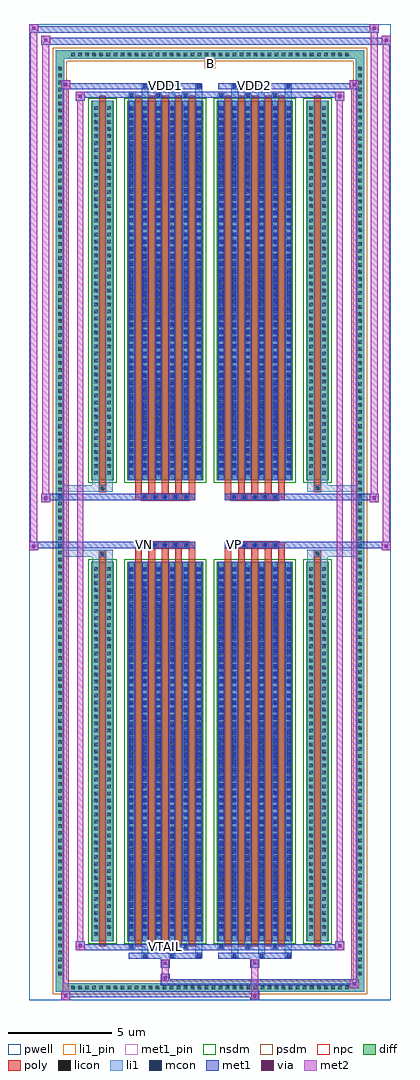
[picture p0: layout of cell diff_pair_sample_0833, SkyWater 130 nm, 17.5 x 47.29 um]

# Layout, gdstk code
import gdstk
lib = gdstk.Library(unit=1e-6, precision=5e-09)
def R(c, l, rs):  # rectangles x0, y0, x1, y1
    for r in rs: c.add(gdstk.rectangle(r[:2], r[2:], *l))
def A(c, l, x, y, w, h, nx, ny, dx, dy):  # array of equal rectangles
    R(c, l, [(x+i*dx, y+j*dy, x+i*dx+w, y+j*dy+h) for i in range(nx) for j in range(ny)])
def P(c, l, *ps):  # polygons
    for p in ps: c.add(gdstk.Polygon(p, *l))
pwell = (64, 44)
diff = (65, 20)
poly = (66, 20)
licon = (66, 44)
li1_pin = (67, 16)
li1 = (67, 20)
mcon = (67, 44)
met1_pin = (68, 16)
met1 = (68, 20)
via = (68, 44)
met2 = (69, 20)
nsdm = (93, 44)
psdm = (94, 20)
npc = (95, 20)

diff_pair_sample_0833 = lib.new_cell('diff_pair_sample_0833')
R(diff_pair_sample_0833, pwell, [(-8.75,-23.21,8.75,24.08), (-6.07,-21.4,-0.01,-0.8), (0.01,-21.4,6.07,-0.8), (-6.07,0.8,-0.01,21.4), (0.01,0.8,6.07,21.4)])
A(diff_pair_sample_0833, diff, -6.835, -22.81, 0.41, 0.41, 40, 2, 0.34, 45.21)
A(diff_pair_sample_0833, diff, -7.48, -22.135, 0.41, 0.41, 1, 130, 0, 0.34)
A(diff_pair_sample_0833, diff, 7.07, -22.135, 0.41, 0.41, 1, 130, 0, 0.34)
R(diff_pair_sample_0833, diff, [(-6.835,-22.81,6.835,-22.4), (-7.48,-22.135,-7.07,22.135), (7.07,-22.135,7.48,22.135), (-5.76,-20.355,-4.66,-1.985), (-4.02,-20.355,-0.32,-1.985), (0.32,-20.355,4.02,-1.985), (4.66,-20.355,5.76,-1.985), (-5.76,1.985,-4.66,20.355), (-4.02,1.985,-0.32,20.355), (0.32,1.985,4.02,20.355), (4.66,1.985,5.76,20.355), (-6.835,22.4,6.835,22.81)])
P(diff_pair_sample_0833, diff, [(7.48,22.81),(-7.48,22.81),(-7.48,-22.4),(-7.07,-22.4),(-7.07,22.4),(7.07,22.4),(7.07,-22.4),(-7.07,-22.4),(-7.48,-22.4),(-7.48,-22.81),(7.48,-22.81)])
A(diff_pair_sample_0833, poly, -3.63, -20.605, 0.32, 18.87, 5, 2, 0.65, 22.34)
A(diff_pair_sample_0833, poly, 0.71, -20.605, 0.32, 18.87, 5, 2, 0.65, 22.34)
A(diff_pair_sample_0833, poly, -3.63, -1.735, 0.32, 0.405, 5, 2, 0.65, 3.065)
A(diff_pair_sample_0833, poly, 0.71, -1.735, 0.32, 0.405, 5, 2, 0.65, 3.065)
A(diff_pair_sample_0833, poly, -3.335, -1.33, 0.33, 0.33, 5, 2, 0.5, 2.33)
A(diff_pair_sample_0833, poly, 1.005, -1.33, 0.33, 0.33, 5, 2, 0.5, 2.33)
R(diff_pair_sample_0833, poly, [(-5.37,-20.605,-5.05,-1.735), (5.05,-20.605,5.37,-1.735), (-5.375,-1.735,-5.045,-1.405), (-5.375,-1.735,-5.045,-1.405), (5.045,-1.735,5.375,-1.405), (5.045,-1.735,5.375,-1.405), (-3.63,-1.33,-0.71,-1), (0.71,-1.33,3.63,-1), (-3.63,1,-0.71,1.33), (0.71,1,3.63,1.33), (-5.375,1.405,-5.045,1.735), (-5.375,1.405,-5.045,1.735), (5.045,1.405,5.375,1.735), (5.045,1.405,5.375,1.735), (-5.37,1.735,-5.05,20.605), (5.05,1.735,5.37,20.605)])
A(diff_pair_sample_0833, licon, -6.715, -22.69, 0.17, 0.17, 40, 2, 0.34, 45.21)
A(diff_pair_sample_0833, licon, -7.36, -22.015, 0.17, 0.17, 1, 130, 0, 0.34)
A(diff_pair_sample_0833, licon, 7.19, -22.015, 0.17, 0.17, 1, 130, 0, 0.34)
A(diff_pair_sample_0833, licon, -5.62, -20.095, 0.17, 0.17, 1, 53, 0, 0.34)
A(diff_pair_sample_0833, licon, -4.97, -20.095, 0.17, 0.17, 1, 53, 0, 0.34)
A(diff_pair_sample_0833, licon, -3.88, -20.095, 0.17, 0.17, 6, 53, 0.65, 0.34)
A(diff_pair_sample_0833, licon, 0.46, -20.095, 0.17, 0.17, 6, 53, 0.65, 0.34)
A(diff_pair_sample_0833, licon, 4.8, -20.095, 0.17, 0.17, 1, 53, 0, 0.34)
A(diff_pair_sample_0833, licon, 5.45, -20.095, 0.17, 0.17, 1, 53, 0, 0.34)
A(diff_pair_sample_0833, licon, -3.255, -1.25, 0.17, 0.17, 5, 2, 0.5, 2.33)
A(diff_pair_sample_0833, licon, 1.085, -1.25, 0.17, 0.17, 5, 2, 0.5, 2.33)
A(diff_pair_sample_0833, licon, -5.62, 2.245, 0.17, 0.17, 1, 53, 0, 0.34)
A(diff_pair_sample_0833, licon, -4.97, 2.245, 0.17, 0.17, 1, 53, 0, 0.34)
A(diff_pair_sample_0833, licon, -3.88, 2.245, 0.17, 0.17, 6, 53, 0.65, 0.34)
A(diff_pair_sample_0833, licon, 0.46, 2.245, 0.17, 0.17, 6, 53, 0.65, 0.34)
A(diff_pair_sample_0833, licon, 4.8, 2.245, 0.17, 0.17, 1, 53, 0, 0.34)
A(diff_pair_sample_0833, licon, 5.45, 2.245, 0.17, 0.17, 1, 53, 0, 0.34)
R(diff_pair_sample_0833, licon, [(-5.295,-1.655,-5.125,-1.485), (5.125,-1.655,5.295,-1.485), (-5.295,1.485,-5.125,1.655), (5.125,1.485,5.295,1.655)])
R(diff_pair_sample_0833, li1_pin, [(-0.25,21.9,0.25,22.4)])
A(diff_pair_sample_0833, li1, -6.795, -22.77, 0.33, 0.33, 40, 2, 0.34, 45.21)
A(diff_pair_sample_0833, li1, -7.44, -22.095, 0.33, 0.33, 1, 130, 0, 0.34)
A(diff_pair_sample_0833, li1, 7.11, -22.095, 0.33, 0.33, 1, 130, 0, 0.34)
A(diff_pair_sample_0833, li1, -3.31, -21.16, 0.33, 0.805, 3, 2, 1.3, 41.515)
A(diff_pair_sample_0833, li1, -3.23, -21.16, 0.17, 0.17, 3, 2, 1.3, 42.15)
A(diff_pair_sample_0833, li1, 1.03, -21.16, 0.33, 0.805, 3, 2, 1.3, 41.515)
A(diff_pair_sample_0833, li1, 1.11, -21.16, 0.17, 0.17, 3, 2, 1.3, 42.15)
A(diff_pair_sample_0833, li1, -3.96, -20.73, 0.33, 0.375, 3, 2, 1.3, 41.085)
A(diff_pair_sample_0833, li1, -3.88, -20.73, 0.17, 0.17, 3, 2, 1.3, 41.29)
A(diff_pair_sample_0833, li1, 0.38, -20.73, 0.33, 0.375, 3, 2, 1.3, 41.085)
A(diff_pair_sample_0833, li1, 0.46, -20.73, 0.17, 0.17, 3, 2, 1.3, 41.29)
A(diff_pair_sample_0833, li1, -3.96, -20.355, 0.33, 18.37, 6, 2, 0.65, 22.34)
A(diff_pair_sample_0833, li1, 0.38, -20.355, 0.33, 18.37, 6, 2, 0.65, 22.34)
A(diff_pair_sample_0833, li1, -5.7, -20.175, 0.33, 0.33, 1, 53, 0, 0.34)
A(diff_pair_sample_0833, li1, -5.05, -20.175, 0.33, 0.33, 1, 53, 0, 0.34)
A(diff_pair_sample_0833, li1, -3.96, -20.175, 0.33, 0.33, 6, 53, 0.65, 0.34)
A(diff_pair_sample_0833, li1, 0.38, -20.175, 0.33, 0.33, 6, 53, 0.65, 0.34)
A(diff_pair_sample_0833, li1, 4.72, -20.175, 0.33, 0.33, 1, 53, 0, 0.34)
A(diff_pair_sample_0833, li1, 5.37, -20.175, 0.33, 0.33, 1, 53, 0, 0.34)
A(diff_pair_sample_0833, li1, -3.88, -20.075, 0.17, 0.17, 6, 50, 0.65, 0.36)
A(diff_pair_sample_0833, li1, -3.88, -20.075, 0.17, 17.81, 6, 2, 0.65, 22.34)
A(diff_pair_sample_0833, li1, 0.46, -20.075, 0.17, 0.17, 6, 50, 0.65, 0.36)
A(diff_pair_sample_0833, li1, 0.46, -20.075, 0.17, 17.81, 6, 2, 0.65, 22.34)
A(diff_pair_sample_0833, li1, -3.335, -1.33, 0.33, 0.33, 5, 2, 0.5, 2.33)
A(diff_pair_sample_0833, li1, 1.005, -1.33, 0.33, 0.33, 5, 2, 0.5, 2.33)
A(diff_pair_sample_0833, li1, -5.7, 2.165, 0.33, 0.33, 1, 53, 0, 0.34)
A(diff_pair_sample_0833, li1, -5.05, 2.165, 0.33, 0.33, 1, 53, 0, 0.34)
A(diff_pair_sample_0833, li1, -3.96, 2.165, 0.33, 0.33, 6, 53, 0.65, 0.34)
A(diff_pair_sample_0833, li1, 0.38, 2.165, 0.33, 0.33, 6, 53, 0.65, 0.34)
A(diff_pair_sample_0833, li1, 4.72, 2.165, 0.33, 0.33, 1, 53, 0, 0.34)
A(diff_pair_sample_0833, li1, 5.37, 2.165, 0.33, 0.33, 1, 53, 0, 0.34)
A(diff_pair_sample_0833, li1, -3.88, 2.265, 0.17, 0.17, 6, 50, 0.65, 0.36)
A(diff_pair_sample_0833, li1, 0.46, 2.265, 0.17, 0.17, 6, 50, 0.65, 0.36)
R(diff_pair_sample_0833, li1, [(-7.48,-22.81,-7.07,-22.4), (-7.48,-22.81,-7.07,-22.4), (-7.07,-22.81,7.07,-22.4), (7.07,-22.81,7.48,-22.4), (7.07,-22.81,7.48,-22.4), (-7.48,-22.4,-7.07,22.4), (7.07,-22.4,7.48,22.4), (-5.7,-20.355,-5.37,-1.985), (-5.05,-20.355,-4.72,-1.985), (4.72,-20.355,5.05,-1.985), (5.37,-20.355,5.7,-1.985), (-5.7,-1.985,-5.37,-1.405), (-5.05,-1.985,-4.72,-1.405), (4.72,-1.985,5.05,-1.405), (5.37,-1.985,5.7,-1.405), (-7.48,-1.735,-5.375,-1.405), (-5.7,-1.735,-5.375,-1.405), (-5.375,-1.735,-5.045,-1.405), (-5.045,-1.735,-4.72,-1.405), (4.72,-1.735,5.045,-1.405), (5.045,-1.735,5.375,-1.405), (5.045,-1.735,7.48,-1.405), (5.375,-1.735,5.7,-1.405), (-7.48,1.405,-5.375,1.735), (-5.7,1.405,-5.375,1.735), (-5.7,1.405,-5.37,1.985), (-5.375,1.405,-5.045,1.735), (-5.05,1.405,-4.72,1.985), (-5.045,1.405,-4.72,1.735), (4.72,1.405,5.045,1.735), (4.72,1.405,5.05,1.985), (5.045,1.405,5.375,1.735), (5.045,1.405,7.48,1.735), (5.37,1.405,5.7,1.985), (5.375,1.405,5.7,1.735), (-5.7,1.985,-5.37,20.355), (-5.05,1.985,-4.72,20.355), (4.72,1.985,5.05,20.355), (5.37,1.985,5.7,20.355), (-7.48,22.4,-7.07,22.81), (-7.48,22.4,-7.07,22.81), (-7.07,22.4,7.07,22.81), (7.07,22.4,7.48,22.81), (7.07,22.4,7.48,22.81)])
A(diff_pair_sample_0833, mcon, -3.23, -21.16, 0.17, 0.17, 3, 2, 1.3, 42.15)
A(diff_pair_sample_0833, mcon, 1.11, -21.16, 0.17, 0.17, 3, 2, 1.3, 42.15)
A(diff_pair_sample_0833, mcon, -3.88, -20.73, 0.17, 0.17, 3, 2, 1.3, 41.29)
A(diff_pair_sample_0833, mcon, 0.46, -20.73, 0.17, 0.17, 3, 2, 1.3, 41.29)
A(diff_pair_sample_0833, mcon, -3.88, -20.075, 0.17, 0.17, 6, 50, 0.65, 0.36)
A(diff_pair_sample_0833, mcon, 0.46, -20.075, 0.17, 0.17, 6, 50, 0.65, 0.36)
A(diff_pair_sample_0833, mcon, -3.255, -1.25, 0.17, 0.17, 5, 2, 0.5, 2.33)
A(diff_pair_sample_0833, mcon, 1.085, -1.25, 0.17, 0.17, 5, 2, 0.5, 2.33)
A(diff_pair_sample_0833, mcon, -3.88, 2.265, 0.17, 0.17, 6, 50, 0.65, 0.36)
A(diff_pair_sample_0833, mcon, 0.46, 2.265, 0.17, 0.17, 6, 50, 0.65, 0.36)
R(diff_pair_sample_0833, met1_pin, [(-2.305,-20.77,-2.035,-20.5), (-3.305,-1.29,-3.035,-1.02), (1.035,-1.29,1.305,-1.02), (-2.305,20.95,-2.035,21.22), (2.035,20.95,2.305,21.22)])
A(diff_pair_sample_0833, met1, -3.29, -21.22, 0.29, 0.29, 3, 2, 1.3, 42.15)
A(diff_pair_sample_0833, met1, 1.05, -21.22, 0.29, 0.29, 3, 2, 1.3, 42.15)
A(diff_pair_sample_0833, met1, -3.94, -20.79, 0.29, 0.29, 3, 2, 1.3, 41.29)
A(diff_pair_sample_0833, met1, 0.4, -20.79, 0.29, 0.29, 3, 2, 1.3, 41.29)
A(diff_pair_sample_0833, met1, -3.94, -20.355, 0.29, 18.37, 6, 2, 0.65, 22.34)
A(diff_pair_sample_0833, met1, 0.4, -20.355, 0.29, 18.37, 6, 2, 0.65, 22.34)
A(diff_pair_sample_0833, met1, -3.94, -20.135, 0.29, 0.29, 6, 50, 0.65, 0.36)
A(diff_pair_sample_0833, met1, 0.4, -20.135, 0.29, 0.29, 6, 50, 0.65, 0.36)
A(diff_pair_sample_0833, met1, -3.315, -1.31, 0.29, 0.29, 5, 2, 0.5, 2.33)
A(diff_pair_sample_0833, met1, 1.025, -1.31, 0.29, 0.29, 5, 2, 0.5, 2.33)
A(diff_pair_sample_0833, met1, -3.94, 2.205, 0.29, 0.29, 6, 50, 0.65, 0.36)
A(diff_pair_sample_0833, met1, 0.4, 2.205, 0.29, 0.29, 6, 50, 0.65, 0.36)
R(diff_pair_sample_0833, met1, [(-7.21,-23.21,-6.78,-22.78), (1.955,-23.21,2.385,-22.78), (-7.21,-23.07,2.385,-22.78), (6.78,-22.64,7.21,-22.21), (-2.385,-22.5,7.21,-22.21), (-2.385,-22.36,-1.955,-21.93), (-2.385,-21.65,-1.955,-21.22), (1.955,-21.65,2.385,-21.22), (-3.94,-21.22,-0.4,-20.93), (0.4,-21.22,3.94,-20.93), (-6.5,-20.79,-6.07,-20.36), (-6.5,-20.79,-3.94,-20.5), (-3.94,-20.79,-0.4,-20.5), (-0.4,-20.79,0.4,-20.5), (0.4,-20.79,3.94,-20.5), (3.94,-20.79,6.5,-20.5), (6.07,-20.79,6.5,-20.36), (-8.75,-1.43,-8.32,-1), (8.32,-1.43,8.75,-1), (-8.75,-1.33,-0.71,-1), (-3.63,-1.33,-0.71,-1), (0.71,-1.33,3.63,-1), (0.71,-1.33,8.75,-1), (-8.18,0.9,-7.75,1.33), (7.75,0.9,8.18,1.33), (-8.18,1,-3.63,1.33), (-3.63,1,-0.71,1.33), (0.71,1,3.63,1.33), (3.63,1,8.18,1.33), (-6.5,20.36,-6.07,20.79), (6.07,20.36,6.5,20.79), (-6.5,20.5,-3.94,20.79), (-3.94,20.5,-0.4,20.79), (-0.4,20.5,0.4,20.79), (0.4,20.5,3.94,20.79), (3.94,20.5,6.5,20.79), (-7.21,20.93,-6.78,21.36), (-7.21,20.93,-3.94,21.22), (-3.94,20.93,-0.4,21.22), (0.4,20.93,3.94,21.22), (3.94,20.93,7.21,21.22), (6.78,20.93,7.21,21.36), (-8.18,23.08,-7.75,23.51), (-8.18,23.08,-6.07,23.41), (-6.07,23.08,6.07,23.41), (6.07,23.08,8.75,23.41), (8.32,23.08,8.75,23.51), (-8.75,23.65,-8.32,24.08), (-8.75,23.65,-6.07,23.98), (-6.07,23.65,6.07,23.98), (6.07,23.65,8.18,23.98), (7.75,23.65,8.18,24.08)])
R(diff_pair_sample_0833, via, [(-7.07,-23.07,-6.92,-22.92), (2.095,-23.07,2.245,-22.92), (6.92,-22.5,7.07,-22.35), (-2.245,-22.22,-2.095,-22.07), (-2.245,-21.51,-2.095,-21.36), (2.095,-21.51,2.245,-21.36), (-6.36,-20.65,-6.21,-20.5), (6.21,-20.65,6.36,-20.5), (-8.61,-1.29,-8.46,-1.14), (8.46,-1.29,8.61,-1.14), (-8.04,1.04,-7.89,1.19), (7.89,1.04,8.04,1.19), (-6.36,20.5,-6.21,20.65), (6.21,20.5,6.36,20.65), (-7.07,21.07,-6.92,21.22), (6.92,21.07,7.07,21.22), (-8.04,23.22,-7.89,23.37), (8.46,23.22,8.61,23.37), (-8.61,23.79,-8.46,23.94), (7.89,23.79,8.04,23.94)])
R(diff_pair_sample_0833, met2, [(-7.21,-23.21,-6.78,-22.78), (-7.14,-23.21,-6.85,21.36), (-6.85,-23.21,-6.78,-22.78), (-7.16,-23.16,-6.83,-22.83), (2.005,-23.16,2.335,-22.83), (2.005,-22.83,2.335,-21.6), (6.78,-22.64,7.21,-22.21), (6.85,-22.64,7.14,21.36), (7.14,-22.64,7.21,-22.21), (6.83,-22.59,7.16,-22.26), (-2.335,-22.31,-2.005,-21.98), (-2.335,-21.98,-2.005,-21.6), (-2.335,-21.6,-2.005,-21.27), (2.005,-21.6,2.335,-21.27), (-6.5,-20.79,-6.07,-20.36), (-6.43,-20.79,-6.14,20.79), (-6.14,-20.79,-6.07,-20.36), (6.07,-20.79,6.5,-20.36), (6.14,-20.79,6.43,20.79), (6.43,-20.79,6.5,-20.36), (-6.45,-20.74,-6.12,-20.41), (6.12,-20.74,6.45,-20.41), (-8.75,-1.43,-8.32,-1), (-8.7,-1.43,-8.37,24.08), (-8.37,-1.43,-8.32,-1), (8.32,-1.43,8.75,-1), (8.37,-1.43,8.7,23.51), (8.7,-1.43,8.75,-1), (-8.7,-1.38,-8.37,-1.05), (8.37,-1.38,8.7,-1.05), (-8.18,0.9,-7.75,1.33), (-8.13,0.9,-7.8,23.51), (-7.8,0.9,-7.75,1.33), (7.75,0.9,8.18,1.33), (7.8,0.9,8.13,24.08), (8.13,0.9,8.18,1.33), (-8.13,0.95,-7.8,1.28), (7.8,0.95,8.13,1.28), (-6.5,20.36,-6.07,20.79), (-6.14,20.36,-6.07,20.79), (6.07,20.36,6.5,20.79), (6.43,20.36,6.5,20.79), (-6.45,20.41,-6.12,20.74), (6.12,20.41,6.45,20.74), (-7.21,20.93,-6.78,21.36), (-6.85,20.93,-6.78,21.36), (6.78,20.93,7.21,21.36), (7.14,20.93,7.21,21.36), (-7.16,20.98,-6.83,21.31), (6.83,20.98,7.16,21.31), (-8.18,23.08,-7.75,23.51), (-7.8,23.08,-7.75,23.51), (8.32,23.08,8.75,23.51), (8.7,23.08,8.75,23.51), (-8.13,23.13,-7.8,23.46), (8.37,23.13,8.7,23.46), (-8.75,23.65,-8.32,24.08), (-8.37,23.65,-8.32,24.08), (7.75,23.65,8.18,24.08), (8.13,23.65,8.18,24.08), (-8.7,23.7,-8.37,24.03), (7.8,23.7,8.13,24.03)])
R(diff_pair_sample_0833, nsdm, [(-5.89,-20.485,-4.53,-1.855), (-4.15,-20.485,-0.19,-1.855), (0.19,-20.485,4.15,-1.855), (4.53,-20.485,5.89,-1.855), (-5.89,1.855,-4.53,20.485), (-4.15,1.855,-0.19,20.485), (0.19,1.855,4.15,20.485), (4.53,1.855,5.89,20.485)])
P(diff_pair_sample_0833, psdm, [(7.61,22.94),(-7.61,22.94),(-7.61,-22.27),(-6.94,-22.27),(-6.94,22.27),(6.94,22.27),(6.94,-22.27),(-6.94,-22.27),(-7.61,-22.27),(-7.61,-22.94),(7.61,-22.94)])
A(diff_pair_sample_0833, npc, -3.355, -1.35, 0.37, 0.37, 5, 2, 0.5, 2.33)
A(diff_pair_sample_0833, npc, 0.985, -1.35, 0.37, 0.37, 5, 2, 0.5, 2.33)
R(diff_pair_sample_0833, npc, [(-5.395,-1.755,-5.025,-1.385), (5.025,-1.755,5.395,-1.385), (-3.355,-1.35,-2.485,-0.98), (-3.355,-1.35,-2.485,-0.98), (-2.855,-1.35,-1.985,-0.98), (-2.855,-1.35,-1.985,-0.98), (-2.355,-1.35,-1.485,-0.98), (-2.355,-1.35,-1.485,-0.98), (-1.855,-1.35,-0.985,-0.98), (-1.855,-1.35,-0.985,-0.98), (0.985,-1.35,1.855,-0.98), (0.985,-1.35,1.855,-0.98), (1.485,-1.35,2.355,-0.98), (1.485,-1.35,2.355,-0.98), (1.985,-1.35,2.855,-0.98), (1.985,-1.35,2.855,-0.98), (2.485,-1.35,3.355,-0.98), (2.485,-1.35,3.355,-0.98), (-3.355,0.98,-2.485,1.35), (-3.355,0.98,-2.485,1.35), (-2.855,0.98,-1.985,1.35), (-2.855,0.98,-1.985,1.35), (-2.355,0.98,-1.485,1.35), (-2.355,0.98,-1.485,1.35), (-1.855,0.98,-0.985,1.35), (-1.855,0.98,-0.985,1.35), (0.985,0.98,1.855,1.35), (0.985,0.98,1.855,1.35), (1.485,0.98,2.355,1.35), (1.485,0.98,2.355,1.35), (1.985,0.98,2.855,1.35), (1.985,0.98,2.855,1.35), (2.485,0.98,3.355,1.35), (2.485,0.98,3.355,1.35), (-5.395,1.385,-5.025,1.755), (5.025,1.385,5.395,1.755)])
diff_pair_sample_0833.add(gdstk.Label('VTAIL', (-2.17,-20.635), layer=68, texttype=5))
diff_pair_sample_0833.add(gdstk.Label('VN', (-3.17,-1.155), layer=68, texttype=5))
diff_pair_sample_0833.add(gdstk.Label('VP', (1.17,-1.155), layer=68, texttype=5))
diff_pair_sample_0833.add(gdstk.Label('B', (0,22.15), layer=67, texttype=5))
diff_pair_sample_0833.add(gdstk.Label('VDD2', (2.17,21.085), layer=68, texttype=5))
diff_pair_sample_0833.add(gdstk.Label('VDD1', (-2.17,21.085), layer=68, texttype=5))

lib.write_gds('diff_pair_sample_0833.gds')
